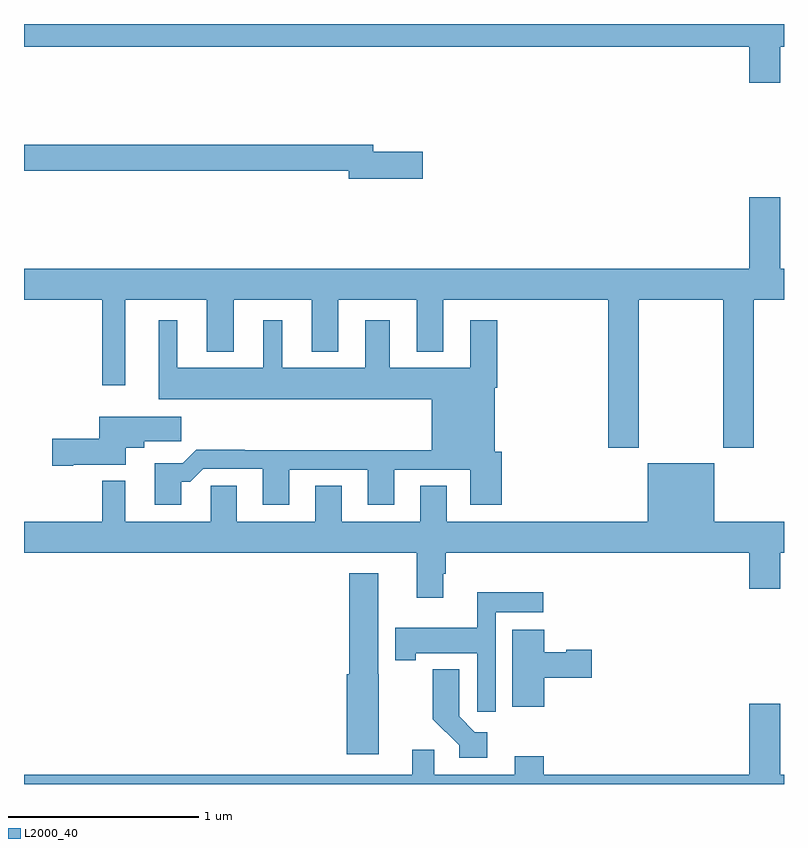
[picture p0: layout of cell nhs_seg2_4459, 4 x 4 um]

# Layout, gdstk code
import gdstk
lib = gdstk.Library(unit=1e-6, precision=1e-09)
def P(c, l, *ps):  # polygons
    for p in ps: c.add(gdstk.Polygon(p, *l))
L2000_40 = (2000, 40)

nhs_seg2_4459 = lib.new_cell('nhs_seg2_4459')
P(nhs_seg2_4459, L2000_40, [(356.98,603.68),(357,603.68),(357,603.8),(353,603.8),(353,603.68),(356.816,603.68),(356.816,603.492),(356.98,603.492)],
  [(355.099,603.128),(354.838,603.128),(354.838,603.164),(353,603.164),(353,603.028),(354.71,603.028),(354.71,602.986),(355.099,602.986)],
  [(356.235,602.348),(356.68,602.348),(356.68,601.569),(356.84,601.569),(356.84,602.348),(357,602.348),(357,602.512),(356.98,602.512),(356.98,602.887),(356.816,602.887),(356.816,602.512),(353,602.512),(353,602.348),(353.412,602.348),(353.412,601.899),(353.533,601.899),(353.533,602.348),(353.963,602.348),(353.963,602.075),(354.103,602.075),(354.103,602.348),(354.515,602.348),(354.515,602.075),(354.655,602.075),(354.655,602.348),(355.067,602.348),(355.067,602.075),(355.207,602.075),(355.207,602.348),(356.075,602.348),(356.075,601.569),(356.235,601.569)],
  [(353.827,601.391),(353.876,601.391),(353.943,601.458),(354.257,601.458),(354.257,601.269),(354.397,601.269),(354.397,601.455),(354.809,601.455),(354.809,601.269),(354.949,601.269),(354.949,601.455),(355.349,601.455),(355.349,601.269),(355.514,601.269),(355.514,601.548),(355.477,601.548),(355.477,601.886),(355.49,601.886),(355.49,602.242),(355.349,602.242),(355.349,601.99),(354.925,601.99),(354.925,602.242),(354.797,602.242),(354.797,601.99),(354.358,601.99),(354.358,602.242),(354.26,602.242),(354.26,601.99),(353.806,601.99),(353.806,602.242),(353.708,602.242),(353.708,601.826),(355.145,601.826),(355.145,601.556),(354.161,601.556),(354.161,601.559),(353.906,601.559),(353.836,601.489),(353.687,601.489),(353.687,601.269),(353.827,601.269)],
  [(353.26,601.481),(353.536,601.481),(353.536,601.571),(353.632,601.571),(353.632,601.603),(353.827,601.603),(353.827,601.732),(353.396,601.732),(353.396,601.616),(353.148,601.616),(353.148,601.474),(353.26,601.474)],
  [(355.207,600.906),(355.22,600.906),(355.22,601.016),(356.816,601.016),(356.816,600.828),(356.98,600.828),(356.98,601.016),(357,601.016),(357,601.18),(356.632,601.18),(356.632,601.489),(356.282,601.489),(356.282,601.18),(355.225,601.18),(355.225,601.37),(355.085,601.37),(355.085,601.18),(354.673,601.18),(354.673,601.37),(354.533,601.37),(354.533,601.18),(354.121,601.18),(354.121,601.37),(353.982,601.37),(353.982,601.18),(353.533,601.18),(353.533,601.396),(353.412,601.396),(353.412,601.18),(353,601.18),(353,601.016),(355.067,601.016),(355.067,600.78),(355.207,600.78)],
  [(354.868,600.378),(354.865,600.378),(354.865,600.91),(354.713,600.91),(354.713,600.378),(354.698,600.378),(354.698,599.957),(354.868,599.957)],
  [(355.482,600.704),(355.732,600.704),(355.732,600.808),(355.385,600.808),(355.385,600.622),(354.954,600.622),(354.954,600.452),(355.063,600.452),(355.063,600.488),(355.386,600.488),(355.386,600.18),(355.482,600.18)],
  [(355.738,600.359),(355.987,600.359),(355.987,600.506),(355.854,600.506),(355.854,600.493),(355.738,600.493),(355.738,600.613),(355.571,600.613),(355.571,600.207),(355.738,600.207)],
  [(355.438,600.073),(355.373,600.073),(355.29,600.156),(355.29,600.403),(355.151,600.403),(355.151,600.142),(355.29,600.003),(355.29,599.937),(355.438,599.937)],
  [(357,599.848),(356.98,599.848),(356.98,600.223),(356.816,600.223),(356.816,599.848),(355.736,599.848),(355.736,599.947),(355.583,599.947),(355.583,599.848),(355.158,599.848),(355.158,599.98),(355.043,599.98),(355.043,599.848),(353,599.848),(353,599.8),(357,599.8)])

lib.write_gds('nhs_seg2_4459.gds')
